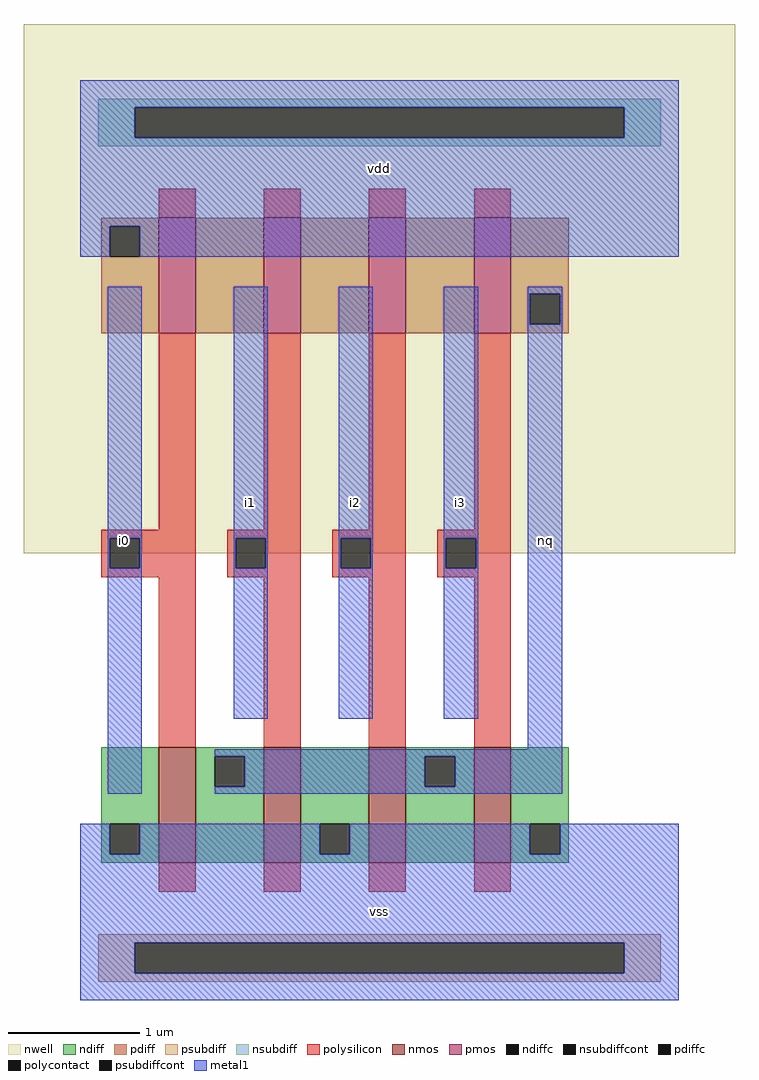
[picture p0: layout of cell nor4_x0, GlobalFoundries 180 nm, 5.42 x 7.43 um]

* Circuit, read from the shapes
.subckt nor4_x0 vss vdd nq i0 i1 i2 i3
XM1 nq i0 vss vss nfet_03v3 w=0.88u l=0.28u
XM2 vss i1 nq vss nfet_03v3 w=0.88u l=0.28u
XM3 nq i2 vss vss nfet_03v3 w=0.88u l=0.28u
XM4 vss i3 nq vss nfet_03v3 w=0.88u l=0.28u
XM5 n1 i0 vdd vdd pfet_03v3 w=0.88u l=0.28u
XM6 n2 i1 n1 vdd pfet_03v3 w=0.88u l=0.28u
XM7 n3 i2 n2 vdd pfet_03v3 w=0.88u l=0.28u
XM8 nq i3 n3 vdd pfet_03v3 w=0.88u l=0.28u
.ends

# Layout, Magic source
magic
tech gf180mcuD
magscale 1 10
<< nwell >>
rect -86 680 998 1486
<< nmos >>
rect 120 209 176 385
rect 280 209 336 385
rect 440 209 496 385
rect 600 209 656 385
<< pmos >>
rect 120 1015 176 1191
rect 280 1015 336 1191
rect 440 1015 496 1191
rect 600 1015 656 1191
<< ndiff >>
rect 32 268 120 385
rect 32 222 45 268
rect 91 222 120 268
rect 32 209 120 222
rect 176 371 280 385
rect 176 325 205 371
rect 251 325 280 371
rect 176 209 280 325
rect 336 268 440 385
rect 336 222 365 268
rect 411 222 440 268
rect 336 209 440 222
rect 496 371 600 385
rect 496 325 525 371
rect 571 325 600 371
rect 496 209 600 325
rect 656 268 744 385
rect 656 222 685 268
rect 731 222 744 268
rect 656 209 744 222
<< pdiff >>
rect 32 1178 120 1191
rect 32 1132 45 1178
rect 91 1132 120 1178
rect 32 1015 120 1132
rect 176 1015 280 1191
rect 336 1015 440 1191
rect 496 1015 600 1191
rect 656 1075 744 1191
rect 656 1029 685 1075
rect 731 1029 744 1075
rect 656 1015 744 1029
<< ndiffc >>
rect 45 222 91 268
rect 205 325 251 371
rect 365 222 411 268
rect 525 325 571 371
rect 685 222 731 268
<< pdiffc >>
rect 45 1132 91 1178
rect 685 1029 731 1075
<< psubdiff >>
rect 28 87 884 100
rect 28 41 83 87
rect 829 41 884 87
rect 28 28 884 41
<< nsubdiff >>
rect 28 1359 884 1372
rect 28 1313 83 1359
rect 829 1313 884 1359
rect 28 1300 884 1313
<< psubdiffcont >>
rect 83 41 829 87
<< nsubdiffcont >>
rect 83 1313 829 1359
<< polysilicon >>
rect 120 1191 176 1235
rect 280 1191 336 1235
rect 440 1191 496 1235
rect 600 1191 656 1235
rect 120 716 176 1015
rect 280 716 336 1015
rect 440 716 496 1015
rect 600 716 656 1015
rect 32 703 176 716
rect 32 657 45 703
rect 91 657 176 703
rect 32 644 176 657
rect 224 703 336 716
rect 224 657 237 703
rect 283 657 336 703
rect 224 644 336 657
rect 384 703 496 716
rect 384 657 397 703
rect 443 657 496 703
rect 384 644 496 657
rect 544 703 656 716
rect 544 657 557 703
rect 603 657 656 703
rect 544 644 656 657
rect 120 385 176 644
rect 280 385 336 644
rect 440 385 496 644
rect 600 385 656 644
rect 120 165 176 209
rect 280 165 336 209
rect 440 165 496 209
rect 600 165 656 209
<< polycontact >>
rect 45 657 91 703
rect 237 657 283 703
rect 397 657 443 703
rect 557 657 603 703
<< metal1 >>
rect 0 1359 912 1400
rect 0 1313 83 1359
rect 829 1313 912 1359
rect 0 1178 912 1313
rect 0 1132 45 1178
rect 91 1132 912 1178
rect 42 703 94 1086
rect 42 657 45 703
rect 91 657 94 703
rect 42 314 94 657
rect 234 703 286 1086
rect 234 657 237 703
rect 283 657 286 703
rect 234 428 286 657
rect 394 703 446 1086
rect 394 657 397 703
rect 443 657 446 703
rect 394 428 446 657
rect 554 703 606 1086
rect 554 657 557 703
rect 603 657 606 703
rect 554 428 606 657
rect 682 1075 734 1086
rect 682 1029 685 1075
rect 731 1029 734 1075
rect 682 382 734 1029
rect 205 371 734 382
rect 251 325 525 371
rect 571 325 734 371
rect 205 314 734 325
rect 0 222 45 268
rect 91 222 365 268
rect 411 222 685 268
rect 731 222 912 268
rect 0 87 912 222
rect 0 41 83 87
rect 829 41 912 87
rect 0 0 912 41
<< labels >>
rlabel metal1 s 0 0 912 268 4 vss
port 3 nsew
rlabel metal1 s 0 1132 912 1400 4 vdd
port 5 nsew
rlabel metal1 s 682 314 734 1086 4 nq
port 7 nsew
rlabel metal1 s 42 314 94 1086 4 i0
port 9 nsew
rlabel metal1 s 234 428 286 1086 4 i1
port 11 nsew
rlabel metal1 s 394 428 446 1086 4 i2
port 13 nsew
rlabel metal1 s 554 428 606 1086 4 i3
port 15 nsew
<< end >>
